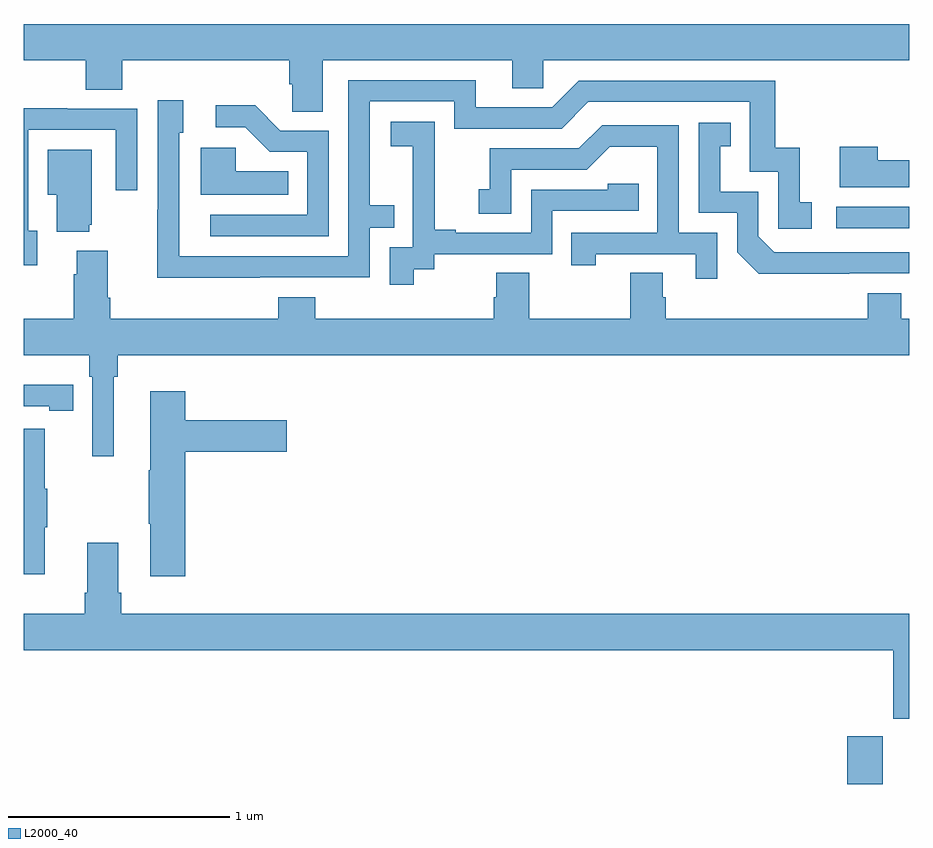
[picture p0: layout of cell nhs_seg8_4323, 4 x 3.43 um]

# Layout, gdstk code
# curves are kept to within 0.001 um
import gdstk
lib = gdstk.Library(unit=1e-6, precision=1e-09)
def R(c, l, rs):  # rectangles x0, y0, x1, y1
    for r in rs: c.add(gdstk.rectangle(r[:2], r[2:], *l))
def P(c, l, *ps):  # polygons
    for p in ps: c.add(gdstk.Polygon(p, *l))
L2000_40 = (2000, 40)

nhs_seg8_4323 = lib.new_cell('nhs_seg8_4323')
R(nhs_seg8_4323, L2000_40, [(378.719,1111.9,378.879,1112.116), (378.669,1114.41,379,1114.506)])
P(nhs_seg8_4323, L2000_40, [(376.351,1115.168),(377.207,1115.168),(377.207,1115.041),(377.346,1115.041),(377.346,1115.168),(379,1115.168),(379,1115.332),(375,1115.332),(375,1115.168),(375.281,1115.168),(375.281,1115.035),(375.446,1115.035),(375.446,1115.168),(376.199,1115.168),(376.199,1115.059),(376.212,1115.059),(376.212,1114.936),(376.351,1114.936)],
  [(376.067,1114.188),(376.563,1114.188),(376.563,1114.413),(376.673,1114.413),(376.673,1114.514),(376.563,1114.514),(376.563,1114.983),(376.944,1114.983),(376.944,1114.86),(377.43,1114.86),(377.55,1114.98),(378.279,1114.98),(378.279,1114.665),(378.408,1114.665),(378.408,1114.407),(378.559,1114.407),(378.559,1114.527),(378.506,1114.527),(378.506,1114.774),(378.395,1114.774),(378.395,1115.076),(377.508,1115.076),(377.388,1114.956),(377.041,1114.956),(377.041,1115.079),(376.467,1115.079),(376.467,1114.284),(375.703,1114.284),(375.702,1114.842),(375.721,1114.842),(375.721,1114.987),(375.606,1114.987),(375.606,1114.493),(375.604,1114.493),(375.604,1114.187)],
  [(376.377,1114.851),(376.158,1114.851),(376.045,1114.964),(375.867,1114.964),(375.867,1114.866),(376.001,1114.866),(376.112,1114.755),(376.281,1114.755),(376.281,1114.47),(375.843,1114.47),(375.843,1114.374),(376.377,1114.374)],
  [(375.061,1114.398),(375.021,1114.398),(375.021,1114.854),(375.417,1114.854),(375.417,1114.581),(375.513,1114.581),(375.513,1114.95),(375.197,1114.95),(375.197,1114.952),(375,1114.952),(375,1114.242),(375.061,1114.242)],
  [(376.762,1114.225),(376.854,1114.225),(376.854,1114.293),(377.388,1114.293),(377.388,1114.488),(377.777,1114.488),(377.777,1114.611),(377.637,1114.611),(377.637,1114.584),(377.292,1114.584),(377.292,1114.389),(376.951,1114.389),(376.951,1114.402),(376.856,1114.402),(376.856,1114.685),(376.857,1114.685),(376.857,1114.891),(376.659,1114.891),(376.659,1114.781),(376.757,1114.781),(376.757,1114.553),(376.758,1114.553),(376.758,1114.323),(376.653,1114.323),(376.653,1114.155),(376.762,1114.155)],
  [(378.728,1114.206),(379,1114.206),(379,1114.302),(378.39,1114.302),(378.318,1114.374),(378.318,1114.575),(378.145,1114.575),(378.145,1114.779),(378.194,1114.779),(378.194,1114.885),(378.048,1114.885),(378.048,1114.479),(378.222,1114.479),(378.222,1114.302),(378.32,1114.205)],
  [(378.132,1114.389),(377.958,1114.389),(377.958,1114.875),(377.612,1114.875),(377.507,1114.77),(377.104,1114.77),(377.104,1114.585),(377.055,1114.585),(377.055,1114.476),(377.202,1114.476),(377.202,1114.674),(377.544,1114.674),(377.648,1114.778),(377.862,1114.778),(377.862,1114.389),(377.473,1114.389),(377.473,1114.242),(377.584,1114.242),(377.584,1114.293),(378.035,1114.293),(378.035,1114.182),(378.132,1114.182)],
  [(379,1114.717),(378.857,1114.717),(378.857,1114.777),(378.686,1114.777),(378.686,1114.595),(379,1114.595)],
  [(376.196,1114.666),(375.957,1114.666),(375.957,1114.774),(375.8,1114.774),(375.8,1114.562),(376.196,1114.562)],
  [(375.296,1114.425),(375.307,1114.425),(375.307,1114.765),(375.11,1114.765),(375.11,1114.562),(375.149,1114.562),(375.149,1114.394),(375.296,1114.394)],
  [(375.406,1113.74),(375.425,1113.74),(375.425,1113.836),(379,1113.836),(379,1114),(378.964,1114),(378.964,1114.117),(378.812,1114.117),(378.812,1114),(377.9,1114),(377.9,1114.098),(377.887,1114.098),(377.887,1114.208),(377.74,1114.208),(377.74,1114),(377.283,1114),(377.283,1114.208),(377.135,1114.208),(377.135,1114.098),(377.123,1114.098),(377.123,1114),(376.316,1114),(376.316,1114.099),(376.151,1114.099),(376.151,1114),(375.392,1114),(375.392,1114.096),(375.379,1114.096),(375.379,1114.309),(375.239,1114.309),(375.239,1114.202),(375.227,1114.202),(375.227,1114),(375,1114),(375,1113.836),(375.296,1113.836),(375.296,1113.74),(375.309,1113.74),(375.309,1113.381),(375.406,1113.381)],
  [(375.224,1113.702),(375.116,1113.702),(375.116,1113.703),(375,1113.703),(375,1113.606),(375.116,1113.606),(375.116,1113.586),(375.224,1113.586)],
  [(375.731,1113.401),(376.189,1113.401),(376.189,1113.543),(375.731,1113.543),(375.731,1113.673),(375.572,1113.673),(375.572,1113.317),(375.565,1113.317),(375.565,1113.076),(375.572,1113.076),(375.572,1112.838),(375.731,1112.838)],
  [(375.095,1113.059),(375.106,1113.059),(375.106,1113.233),(375.095,1113.233),(375.095,1113.505),(375,1113.505),(375,1112.847),(375.095,1112.847)],
  [(379,1112.668),(375.44,1112.668),(375.44,1112.764),(375.427,1112.764),(375.427,1112.989),(375.287,1112.989),(375.287,1112.764),(375.275,1112.764),(375.275,1112.668),(375,1112.668),(375,1112.504),(378.926,1112.504),(378.926,1112.195),(379,1112.195)])

lib.write_gds('nhs_seg8_4323.gds')
